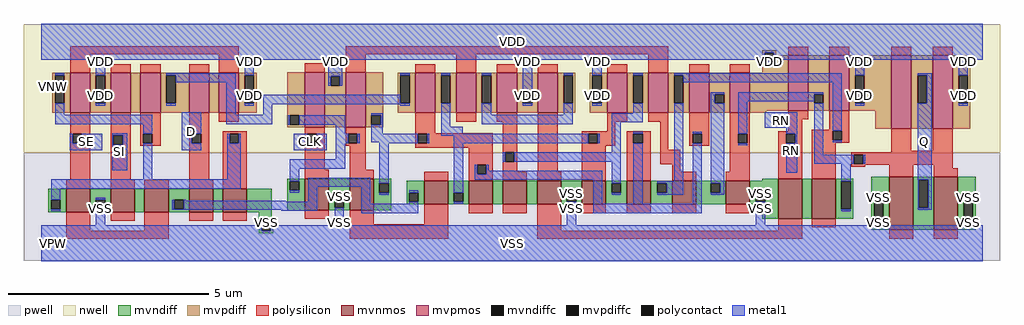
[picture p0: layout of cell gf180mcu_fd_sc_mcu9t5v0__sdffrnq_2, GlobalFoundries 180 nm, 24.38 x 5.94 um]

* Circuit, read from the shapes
.subckt gf180mcu_fd_sc_mcu9t5v0__sdffrnq_2 D RN SE SI CLK Q VDD VNW VPW VSS
XM1 VSS SE n1 VPW nfet_06v0 w=0.59u l=0.6u
XM2 n2 SI VSS VPW nfet_06v0 w=0.59u l=0.6u
XM3 n3 SE n2 VPW nfet_06v0 w=0.59u l=0.6u
XM4 n4 D n3 VPW nfet_06v0 w=0.59u l=0.6u
XM5 VSS n1 n4 VPW nfet_06v0 w=0.59u l=0.6u
XM6 VSS CLK n5 VPW nfet_06v0 w=0.79u l=0.6u
XM7 n6 n5 VSS VPW nfet_06v0 w=0.79u l=0.6u
XM8 n7 n5 n3 VPW nfet_06v0 w=0.59u l=0.6u
XM9 n8 n6 n7 VPW nfet_06v0 w=0.59u l=0.6u
XM10 n9 n10 n8 VPW nfet_06v0 w=0.59u l=0.6u
XM11 VSS RN n9 VPW nfet_06v0 w=0.59u l=0.6u
XM12 n10 n7 VSS VPW nfet_06v0 w=0.59u l=0.6u
XM13 n11 n6 n10 VPW nfet_06v0 w=0.59u l=0.6u
XM14 n12 n5 n11 VPW nfet_06v0 w=0.59u l=0.6u
XM15 VSS n13 n12 VPW nfet_06v0 w=0.59u l=0.6u
XM16 n14 RN VSS VPW nfet_06v0 w=1u l=0.6u
XM17 n13 n11 n14 VPW nfet_06v0 w=1u l=0.6u
XM18 Q n13 VSS VPW nfet_06v0 w=1.32u l=0.6u m=2
XM19 VDD SE n1 VNW pfet_06v0 w=1u l=0.5u
XM20 n15 SI VDD VNW pfet_06v0 w=1u l=0.5u
XM21 n16 n1 n15 VNW pfet_06v0 w=1u l=0.5u
XM22 n17 D n16 VNW pfet_06v0 w=1u l=0.5u
XM23 VDD SE n17 VNW pfet_06v0 w=1u l=0.5u
XM24 VDD CLK n5 VNW pfet_06v0 w=1.38u l=0.5u
XM25 n6 n5 VDD VNW pfet_06v0 w=1.38u l=0.5u
XM26 n7 n6 n16 VNW pfet_06v0 w=1u l=0.5u
XM27 n18 n5 n7 VNW pfet_06v0 w=1u l=0.5u
XM28 VDD n10 n18 VNW pfet_06v0 w=1u l=0.5u
XM29 n18 RN VDD VNW pfet_06v0 w=1u l=0.5u
XM30 n10 n7 VDD VNW pfet_06v0 w=1u l=0.5u
XM31 n11 n5 n10 VNW pfet_06v0 w=1u l=0.5u
XM32 n12 n6 n11 VNW pfet_06v0 w=1u l=0.5u
XM33 VDD n13 n12 VNW pfet_06v0 w=1u l=0.5u
XM34 n13 RN VDD VNW pfet_06v0 w=1.38u l=0.5u
XM35 VDD n11 n13 VNW pfet_06v0 w=1.38u l=0.5u
XM36 Q n13 VDD VNW pfet_06v0 w=1.83u l=0.5u m=2
.ends

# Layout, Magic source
magic
tech gf180mcuD
magscale 1 10
<< nwell >>
rect -86 453 4790 1094
<< pwell >>
rect -86 -86 4790 453
<< mvnmos >>
rect 124 156 244 274
rect 348 156 468 274
rect 516 156 636 274
rect 740 156 860 274
rect 908 156 1028 274
rect 1317 166 1437 324
rect 1541 166 1661 324
rect 1913 195 2033 313
rect 2137 195 2257 313
rect 2305 195 2425 313
rect 2477 195 2597 313
rect 2701 195 2821 313
rect 2925 195 3045 313
rect 3153 195 3273 313
rect 3421 195 3541 313
rect 3681 124 3801 324
rect 3849 124 3969 324
rect 4236 68 4356 332
rect 4460 68 4580 332
<< mvpmos >>
rect 144 652 244 852
rect 348 652 448 852
rect 496 652 596 852
rect 740 652 840 852
rect 888 652 988 852
rect 1317 580 1417 856
rect 1521 580 1621 856
rect 1869 652 1969 852
rect 2073 652 2173 852
rect 2277 652 2377 852
rect 2481 652 2581 852
rect 2829 652 2929 852
rect 3033 652 3133 852
rect 3237 652 3337 852
rect 3441 652 3541 852
rect 3733 663 3833 939
rect 3937 663 4037 939
rect 4246 573 4346 939
rect 4454 573 4554 939
<< mvndiff >>
rect 1229 311 1317 324
rect 36 217 124 274
rect 36 171 49 217
rect 95 171 124 217
rect 36 156 124 171
rect 244 217 348 274
rect 244 171 273 217
rect 319 171 348 217
rect 244 156 348 171
rect 468 156 516 274
rect 636 217 740 274
rect 636 171 665 217
rect 711 171 740 217
rect 636 156 740 171
rect 860 156 908 274
rect 1028 156 1152 274
rect 1229 265 1242 311
rect 1288 265 1317 311
rect 1229 166 1317 265
rect 1437 225 1541 324
rect 1437 179 1466 225
rect 1512 179 1541 225
rect 1437 166 1541 179
rect 1661 300 1749 324
rect 3601 313 3681 324
rect 1661 254 1690 300
rect 1736 254 1749 300
rect 1661 166 1749 254
rect 1825 254 1913 313
rect 1825 208 1838 254
rect 1884 208 1913 254
rect 1825 195 1913 208
rect 2033 254 2137 313
rect 2033 208 2062 254
rect 2108 208 2137 254
rect 2033 195 2137 208
rect 2257 195 2305 313
rect 2425 195 2477 313
rect 2597 254 2701 313
rect 2597 208 2626 254
rect 2672 208 2701 254
rect 2597 195 2701 208
rect 2821 300 2925 313
rect 2821 254 2850 300
rect 2896 254 2925 300
rect 2821 195 2925 254
rect 3045 300 3153 313
rect 3045 254 3078 300
rect 3124 254 3153 300
rect 3045 195 3153 254
rect 3273 300 3421 313
rect 3273 254 3346 300
rect 3392 254 3421 300
rect 3273 195 3421 254
rect 3541 254 3681 313
rect 3541 208 3570 254
rect 3616 208 3681 254
rect 3541 195 3681 208
rect 1088 122 1152 156
rect 1088 110 1160 122
rect 1088 64 1101 110
rect 1147 64 1160 110
rect 1088 51 1160 64
rect 3601 124 3681 195
rect 3801 124 3849 324
rect 3969 311 4057 324
rect 3969 171 3998 311
rect 4044 171 4057 311
rect 3969 124 4057 171
rect 4148 221 4236 332
rect 4148 81 4161 221
rect 4207 81 4236 221
rect 4148 68 4236 81
rect 4356 319 4460 332
rect 4356 179 4385 319
rect 4431 179 4460 319
rect 4356 68 4460 179
rect 4580 221 4668 332
rect 4580 81 4609 221
rect 4655 81 4668 221
rect 4580 68 4668 81
<< mvpdiff >>
rect 56 839 144 852
rect 56 699 69 839
rect 115 699 144 839
rect 56 652 144 699
rect 244 839 348 852
rect 244 699 273 839
rect 319 699 348 839
rect 244 652 348 699
rect 448 652 496 852
rect 596 839 740 852
rect 596 699 625 839
rect 671 699 740 839
rect 596 652 740 699
rect 840 652 888 852
rect 988 839 1076 852
rect 988 699 1017 839
rect 1063 699 1076 839
rect 988 652 1076 699
rect 1229 639 1317 856
rect 1229 593 1242 639
rect 1288 593 1317 639
rect 1229 580 1317 593
rect 1417 834 1521 856
rect 1417 788 1446 834
rect 1492 788 1521 834
rect 1417 580 1521 788
rect 1621 639 1709 856
rect 3601 953 3673 966
rect 3601 907 3614 953
rect 3660 939 3673 953
rect 3660 907 3733 939
rect 3601 852 3733 907
rect 1781 839 1869 852
rect 1781 699 1794 839
rect 1840 699 1869 839
rect 1781 652 1869 699
rect 1969 839 2073 852
rect 1969 699 1998 839
rect 2044 699 2073 839
rect 1969 652 2073 699
rect 2173 839 2277 852
rect 2173 699 2202 839
rect 2248 699 2277 839
rect 2173 652 2277 699
rect 2377 745 2481 852
rect 2377 699 2406 745
rect 2452 699 2481 745
rect 2377 652 2481 699
rect 2581 839 2669 852
rect 2581 699 2610 839
rect 2656 699 2669 839
rect 2581 652 2669 699
rect 2741 839 2829 852
rect 2741 699 2754 839
rect 2800 699 2829 839
rect 2741 652 2829 699
rect 2929 839 3033 852
rect 2929 699 2958 839
rect 3004 699 3033 839
rect 2929 652 3033 699
rect 3133 839 3237 852
rect 3133 699 3162 839
rect 3208 699 3237 839
rect 3133 652 3237 699
rect 3337 745 3441 852
rect 3337 699 3366 745
rect 3412 699 3441 745
rect 3337 652 3441 699
rect 3541 663 3733 852
rect 3833 745 3937 939
rect 3833 699 3862 745
rect 3908 699 3937 745
rect 3833 663 3937 699
rect 4037 839 4246 939
rect 4037 699 4066 839
rect 4112 699 4246 839
rect 4037 663 4246 699
rect 3541 652 3621 663
rect 1621 593 1650 639
rect 1696 593 1709 639
rect 1621 580 1709 593
rect 4166 573 4246 663
rect 4346 839 4454 939
rect 4346 699 4379 839
rect 4425 699 4454 839
rect 4346 573 4454 699
rect 4554 839 4642 939
rect 4554 699 4583 839
rect 4629 699 4642 839
rect 4554 573 4642 699
<< mvndiffc >>
rect 49 171 95 217
rect 273 171 319 217
rect 665 171 711 217
rect 1242 265 1288 311
rect 1466 179 1512 225
rect 1690 254 1736 300
rect 1838 208 1884 254
rect 2062 208 2108 254
rect 2626 208 2672 254
rect 2850 254 2896 300
rect 3078 254 3124 300
rect 3346 254 3392 300
rect 3570 208 3616 254
rect 1101 64 1147 110
rect 3998 171 4044 311
rect 4161 81 4207 221
rect 4385 179 4431 319
rect 4609 81 4655 221
<< mvpdiffc >>
rect 69 699 115 839
rect 273 699 319 839
rect 625 699 671 839
rect 1017 699 1063 839
rect 1242 593 1288 639
rect 1446 788 1492 834
rect 3614 907 3660 953
rect 1794 699 1840 839
rect 1998 699 2044 839
rect 2202 699 2248 839
rect 2406 699 2452 745
rect 2610 699 2656 839
rect 2754 699 2800 839
rect 2958 699 3004 839
rect 3162 699 3208 839
rect 3366 699 3412 745
rect 3862 699 3908 745
rect 4066 699 4112 839
rect 1650 593 1696 639
rect 4379 699 4425 839
rect 4583 699 4629 839
<< polysilicon >>
rect 144 944 988 984
rect 144 852 244 944
rect 348 852 448 896
rect 496 852 596 896
rect 740 852 840 896
rect 888 852 988 944
rect 1521 944 3133 984
rect 1317 856 1417 900
rect 1521 856 1621 944
rect 144 547 244 652
rect 144 501 157 547
rect 203 501 244 547
rect 144 318 244 501
rect 124 274 244 318
rect 348 539 448 652
rect 348 493 361 539
rect 407 493 448 539
rect 348 318 448 493
rect 496 547 596 652
rect 496 501 509 547
rect 555 501 596 547
rect 496 488 596 501
rect 740 547 840 652
rect 888 608 988 652
rect 1869 852 1969 896
rect 2073 852 2173 944
rect 2277 852 2377 896
rect 2481 852 2581 896
rect 2829 852 2929 896
rect 3033 852 3133 944
rect 3733 939 3833 983
rect 3937 939 4037 983
rect 4246 939 4346 983
rect 4454 939 4554 983
rect 3237 852 3337 896
rect 3441 852 3541 896
rect 740 501 753 547
rect 799 501 840 547
rect 740 318 840 501
rect 908 547 1028 560
rect 908 501 941 547
rect 987 501 1028 547
rect 348 274 468 318
rect 516 274 636 318
rect 740 274 860 318
rect 908 274 1028 501
rect 1317 547 1417 580
rect 1317 501 1330 547
rect 1376 501 1417 547
rect 1317 368 1417 501
rect 1521 547 1621 580
rect 1521 501 1534 547
rect 1580 501 1621 547
rect 1521 488 1621 501
rect 1541 368 1621 488
rect 1869 550 1969 652
rect 2073 608 2173 652
rect 2277 608 2377 652
rect 1869 547 2257 550
rect 1869 501 1882 547
rect 1928 501 2257 547
rect 1869 478 2257 501
rect 2137 392 2257 478
rect 1317 324 1437 368
rect 1541 324 1661 368
rect 1913 313 2033 357
rect 2137 346 2178 392
rect 2224 346 2257 392
rect 2137 313 2257 346
rect 2305 455 2377 608
rect 2305 409 2318 455
rect 2364 409 2377 455
rect 2305 357 2377 409
rect 2481 357 2581 652
rect 2829 608 2929 652
rect 3033 608 3133 652
rect 2829 560 2869 608
rect 2701 547 2869 560
rect 2701 501 2734 547
rect 2780 501 2869 547
rect 2701 488 2869 501
rect 2925 547 3045 560
rect 2925 501 2958 547
rect 3004 501 3045 547
rect 2305 313 2425 357
rect 2477 313 2597 357
rect 2701 313 2821 488
rect 2925 313 3045 501
rect 3093 468 3133 608
rect 3237 547 3337 652
rect 3237 501 3254 547
rect 3300 501 3337 547
rect 3237 488 3337 501
rect 3441 547 3541 652
rect 3733 619 3833 663
rect 3733 560 3801 619
rect 3937 568 4037 663
rect 3441 501 3482 547
rect 3528 501 3541 547
rect 3093 396 3193 468
rect 3153 357 3193 396
rect 3441 357 3541 501
rect 3153 313 3273 357
rect 3421 313 3541 357
rect 3681 547 3801 560
rect 3681 501 3722 547
rect 3768 501 3801 547
rect 3681 324 3801 501
rect 3849 562 4037 568
rect 3849 516 3954 562
rect 4000 516 4037 562
rect 3849 503 4037 516
rect 3849 324 3969 503
rect 4246 464 4346 573
rect 4454 464 4554 573
rect 4246 456 4554 464
rect 4047 443 4554 456
rect 4047 397 4060 443
rect 4106 397 4554 443
rect 4047 392 4554 397
rect 4047 384 4118 392
rect 4236 332 4356 392
rect 4460 376 4554 392
rect 4460 332 4580 376
rect 124 64 244 156
rect 348 112 468 156
rect 516 64 636 156
rect 740 112 860 156
rect 908 112 1028 156
rect 1317 122 1437 166
rect 124 24 636 64
rect 1541 96 1661 166
rect 1913 96 2033 195
rect 2137 151 2257 195
rect 2305 151 2425 195
rect 1541 24 2033 96
rect 2477 64 2597 195
rect 2701 151 2821 195
rect 2925 151 3045 195
rect 3153 151 3273 195
rect 3421 151 3541 195
rect 3681 64 3801 124
rect 3849 80 3969 124
rect 2477 24 3801 64
rect 4236 24 4356 68
rect 4460 24 4580 68
<< polycontact >>
rect 157 501 203 547
rect 361 493 407 539
rect 509 501 555 547
rect 753 501 799 547
rect 941 501 987 547
rect 1330 501 1376 547
rect 1534 501 1580 547
rect 1882 501 1928 547
rect 2178 346 2224 392
rect 2318 409 2364 455
rect 2734 501 2780 547
rect 2958 501 3004 547
rect 3254 501 3300 547
rect 3482 501 3528 547
rect 3722 501 3768 547
rect 3954 516 4000 562
rect 4060 397 4106 443
<< metal1 >>
rect 0 953 4704 1098
rect 0 918 3614 953
rect 69 839 115 850
rect 69 642 115 699
rect 273 839 319 918
rect 273 688 319 699
rect 625 839 971 850
rect 671 804 971 839
rect 625 688 671 699
rect 69 596 555 642
rect 142 501 157 547
rect 203 501 306 547
rect 142 466 306 501
rect 354 539 430 550
rect 354 493 361 539
rect 407 493 430 539
rect 354 366 430 493
rect 509 547 555 596
rect 509 320 555 501
rect 702 547 799 654
rect 925 642 971 804
rect 1017 839 1063 918
rect 1435 834 1503 918
rect 1435 788 1446 834
rect 1492 788 1503 834
rect 1794 839 1840 850
rect 1017 688 1063 699
rect 1109 699 1794 742
rect 1109 696 1840 699
rect 1109 642 1155 696
rect 1794 688 1840 696
rect 1998 839 2044 850
rect 925 596 1155 642
rect 1650 639 1707 650
rect 1231 593 1242 639
rect 1288 593 1518 639
rect 1472 547 1518 593
rect 1696 593 1707 639
rect 1650 547 1707 593
rect 1998 583 2044 699
rect 2202 839 2248 850
rect 2202 642 2248 699
rect 2406 745 2452 918
rect 2406 688 2452 699
rect 2610 839 2656 850
rect 2610 642 2656 699
rect 2754 839 2800 918
rect 3660 918 4704 953
rect 3614 896 3660 907
rect 2754 688 2800 699
rect 2958 839 3004 850
rect 2958 650 3004 699
rect 2202 596 2656 642
rect 2850 604 3004 650
rect 3162 839 4000 850
rect 3208 804 4000 839
rect 1998 547 2107 583
rect 702 501 753 547
rect 702 466 799 501
rect 930 501 941 547
rect 987 501 998 547
rect 930 320 998 501
rect 1262 501 1330 547
rect 1376 501 1426 547
rect 1262 466 1426 501
rect 1472 501 1534 547
rect 1580 501 1591 547
rect 1650 504 1882 547
rect 1690 501 1882 504
rect 1928 501 1939 547
rect 1998 537 2734 547
rect 2062 501 2734 537
rect 2780 501 2791 547
rect 1472 420 1518 501
rect 49 274 998 320
rect 1242 374 1518 420
rect 1242 311 1288 374
rect 49 217 95 274
rect 1242 254 1288 265
rect 1334 282 1644 328
rect 49 160 95 171
rect 273 217 319 228
rect 273 90 319 171
rect 654 171 665 217
rect 711 213 722 217
rect 711 208 1221 213
rect 1334 208 1380 282
rect 711 171 1380 208
rect 654 167 1380 171
rect 1200 162 1380 167
rect 1466 225 1512 236
rect 1101 110 1147 121
rect 0 64 1101 90
rect 1466 90 1512 179
rect 1598 197 1644 282
rect 1690 300 1736 501
rect 1690 243 1736 254
rect 1838 254 1884 265
rect 1838 197 1884 208
rect 2062 254 2108 501
rect 2850 455 2896 604
rect 2307 409 2318 455
rect 2364 409 2896 455
rect 2167 346 2178 392
rect 2224 363 2235 392
rect 2224 346 2804 363
rect 2167 317 2804 346
rect 2062 197 2108 208
rect 2626 254 2672 265
rect 1598 151 1884 197
rect 2626 90 2672 208
rect 2758 197 2804 317
rect 2850 300 2896 409
rect 2850 243 2896 254
rect 2958 547 3004 558
rect 2958 197 3004 501
rect 3162 311 3208 699
rect 3346 745 3412 756
rect 3346 699 3366 745
rect 3078 300 3208 311
rect 3124 254 3208 300
rect 3078 243 3208 254
rect 3254 547 3300 558
rect 3254 197 3300 501
rect 3346 300 3412 699
rect 3482 745 3908 756
rect 3482 710 3862 745
rect 3482 547 3528 710
rect 3614 578 3778 654
rect 3482 490 3528 501
rect 3722 547 3778 578
rect 3768 501 3778 547
rect 3722 354 3778 501
rect 3862 443 3908 699
rect 3954 562 4000 804
rect 4066 839 4112 918
rect 4066 688 4112 699
rect 4379 839 4450 850
rect 4425 699 4450 839
rect 3954 505 4000 516
rect 3862 397 4060 443
rect 4106 397 4117 443
rect 3392 254 3412 300
rect 3998 311 4044 397
rect 3346 243 3412 254
rect 3570 254 3616 265
rect 2758 151 3300 197
rect 3570 90 3616 208
rect 4379 319 4450 699
rect 4583 839 4629 918
rect 4583 688 4629 699
rect 3998 160 4044 171
rect 4161 221 4207 232
rect 1147 81 4161 90
rect 4379 179 4385 319
rect 4431 179 4450 319
rect 4379 168 4450 179
rect 4609 221 4655 232
rect 4207 81 4609 90
rect 4655 81 4704 90
rect 1147 64 4704 81
rect 0 -90 4704 64
<< labels >>
flabel metal1 s 1262 466 1426 547 0 FreeSans 200 0 0 0 CLK
port 5 nsew clock input
flabel metal1 s 702 466 799 654 0 FreeSans 200 0 0 0 D
port 1 nsew default input
flabel metal1 s 4379 168 4450 850 0 FreeSans 200 0 0 0 Q
port 6 nsew default output
flabel metal1 s 3614 578 3778 654 0 FreeSans 200 0 0 0 RN
port 2 nsew default input
flabel metal1 s 142 466 306 547 0 FreeSans 200 0 0 0 SE
port 3 nsew default input
flabel metal1 s 354 366 430 550 0 FreeSans 200 0 0 0 SI
port 4 nsew default input
flabel metal1 s 0 918 4704 1098 0 FreeSans 200 0 0 0 VDD
port 7 nsew power bidirectional abutment
flabel metal1 s 3570 236 3616 265 0 FreeSans 200 0 0 0 VSS
port 10 nsew ground bidirectional abutment
flabel nwell s 10 734 110 834 0 FreeSans 400 0 0 0 VNW
port 8 nsew power bidirectional
flabel pwell s 10 -50 110 50 0 FreeSans 400 0 0 0 VPW
port 9 nsew ground bidirectional
rlabel metal1 s 3722 354 3778 578 1 RN
port 2 nsew default input
rlabel metal1 s 4583 896 4629 918 1 VDD
port 7 nsew power bidirectional abutment
rlabel metal1 s 4066 896 4112 918 1 VDD
port 7 nsew power bidirectional abutment
rlabel metal1 s 3614 896 3660 918 1 VDD
port 7 nsew power bidirectional abutment
rlabel metal1 s 2754 896 2800 918 1 VDD
port 7 nsew power bidirectional abutment
rlabel metal1 s 2406 896 2452 918 1 VDD
port 7 nsew power bidirectional abutment
rlabel metal1 s 1435 896 1503 918 1 VDD
port 7 nsew power bidirectional abutment
rlabel metal1 s 1017 896 1063 918 1 VDD
port 7 nsew power bidirectional abutment
rlabel metal1 s 273 896 319 918 1 VDD
port 7 nsew power bidirectional abutment
rlabel metal1 s 4583 788 4629 896 1 VDD
port 7 nsew power bidirectional abutment
rlabel metal1 s 4066 788 4112 896 1 VDD
port 7 nsew power bidirectional abutment
rlabel metal1 s 2754 788 2800 896 1 VDD
port 7 nsew power bidirectional abutment
rlabel metal1 s 2406 788 2452 896 1 VDD
port 7 nsew power bidirectional abutment
rlabel metal1 s 1435 788 1503 896 1 VDD
port 7 nsew power bidirectional abutment
rlabel metal1 s 1017 788 1063 896 1 VDD
port 7 nsew power bidirectional abutment
rlabel metal1 s 273 788 319 896 1 VDD
port 7 nsew power bidirectional abutment
rlabel metal1 s 4583 688 4629 788 1 VDD
port 7 nsew power bidirectional abutment
rlabel metal1 s 4066 688 4112 788 1 VDD
port 7 nsew power bidirectional abutment
rlabel metal1 s 2754 688 2800 788 1 VDD
port 7 nsew power bidirectional abutment
rlabel metal1 s 2406 688 2452 788 1 VDD
port 7 nsew power bidirectional abutment
rlabel metal1 s 1017 688 1063 788 1 VDD
port 7 nsew power bidirectional abutment
rlabel metal1 s 273 688 319 788 1 VDD
port 7 nsew power bidirectional abutment
rlabel metal1 s 2626 236 2672 265 1 VSS
port 10 nsew ground bidirectional abutment
rlabel metal1 s 3570 232 3616 236 1 VSS
port 10 nsew ground bidirectional abutment
rlabel metal1 s 2626 232 2672 236 1 VSS
port 10 nsew ground bidirectional abutment
rlabel metal1 s 1466 232 1512 236 1 VSS
port 10 nsew ground bidirectional abutment
rlabel metal1 s 4609 228 4655 232 1 VSS
port 10 nsew ground bidirectional abutment
rlabel metal1 s 4161 228 4207 232 1 VSS
port 10 nsew ground bidirectional abutment
rlabel metal1 s 3570 228 3616 232 1 VSS
port 10 nsew ground bidirectional abutment
rlabel metal1 s 2626 228 2672 232 1 VSS
port 10 nsew ground bidirectional abutment
rlabel metal1 s 1466 228 1512 232 1 VSS
port 10 nsew ground bidirectional abutment
rlabel metal1 s 4609 121 4655 228 1 VSS
port 10 nsew ground bidirectional abutment
rlabel metal1 s 4161 121 4207 228 1 VSS
port 10 nsew ground bidirectional abutment
rlabel metal1 s 3570 121 3616 228 1 VSS
port 10 nsew ground bidirectional abutment
rlabel metal1 s 2626 121 2672 228 1 VSS
port 10 nsew ground bidirectional abutment
rlabel metal1 s 1466 121 1512 228 1 VSS
port 10 nsew ground bidirectional abutment
rlabel metal1 s 273 121 319 228 1 VSS
port 10 nsew ground bidirectional abutment
rlabel metal1 s 4609 90 4655 121 1 VSS
port 10 nsew ground bidirectional abutment
rlabel metal1 s 4161 90 4207 121 1 VSS
port 10 nsew ground bidirectional abutment
rlabel metal1 s 3570 90 3616 121 1 VSS
port 10 nsew ground bidirectional abutment
rlabel metal1 s 2626 90 2672 121 1 VSS
port 10 nsew ground bidirectional abutment
rlabel metal1 s 1466 90 1512 121 1 VSS
port 10 nsew ground bidirectional abutment
rlabel metal1 s 1101 90 1147 121 1 VSS
port 10 nsew ground bidirectional abutment
rlabel metal1 s 273 90 319 121 1 VSS
port 10 nsew ground bidirectional abutment
rlabel metal1 s 0 -90 4704 90 1 VSS
port 10 nsew ground bidirectional abutment
<< properties >>
string FIXED_BBOX 0 0 4704 1008
string GDS_END 355386
string GDS_FILE $PDKPATH/libs.ref/gf180mcu_fd_sc_mcu9t5v0/gds/gf180mcu_fd_sc_mcu9t5v0.gds
string GDS_START 344250
string LEFclass core
string LEFsite GF018hv5v_green_sc9
string LEFsymmetry X Y
<< end >>
